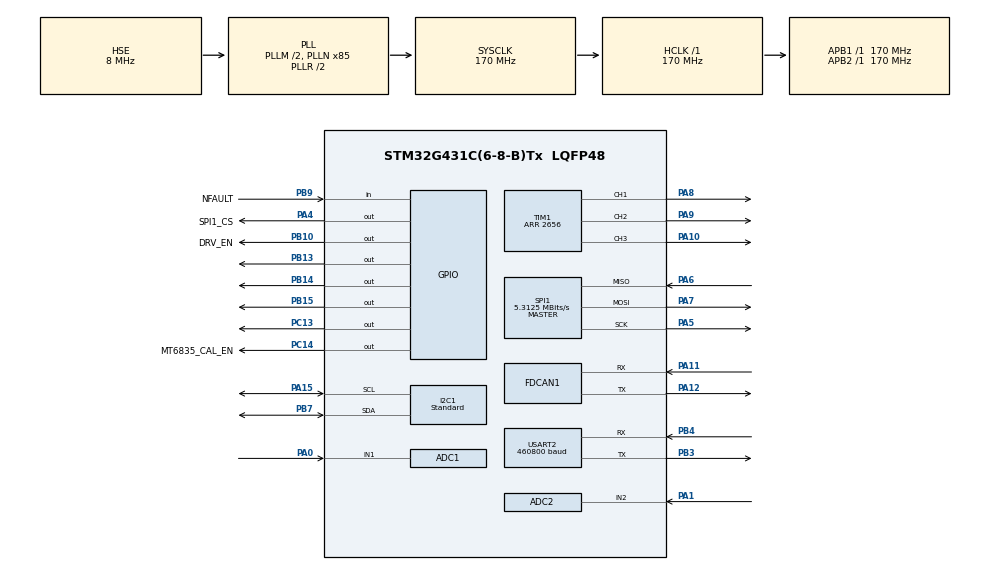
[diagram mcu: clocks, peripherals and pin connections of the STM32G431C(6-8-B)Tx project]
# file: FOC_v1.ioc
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ADC1.EnableInjectedConversion=ENABLE
ADC1.EnableInjectedOversampling=ENABLE
ADC1.EnableRegularConversion=DISABLE
ADC1.ExternalTrigInjecConv=ADC_EXTERNALTRIGINJEC_T1_TRGO
ADC1.InjNumberOfConversion=1
ADC1.InjOversamplingRatio=ADC_OVERSAMPLING_RATIO_16
ADC1.InjOversamplingRightShift=ADC_RIGHTBITSHIFT_4
ADC1.InjectedChannel-1\#ChannelInjectedConversion=ADC_CHANNEL_1
ADC1.InjectedOffsetNumber-1\#ChannelInjectedConversion=ADC_OFFSET_NONE
ADC1.InjectedRank-1\#ChannelInjectedConversion=1
ADC1.InjectedSamplingTime-1\#ChannelInjectedConversion=ADC_SAMPLETIME_12CYCLES_5
ADC1.Mode=ADC_DUALMODE_INJECSIMULT
ADC1.Rank1_Channel=ADC_CHANNEL_1
ADC1.Rank2_Channel=ADC_CHANNEL_1
ADC1.Rank3_Channel=ADC_CHANNEL_1
ADC1.Rank4_Channel=ADC_CHANNEL_1
ADC1.master=1
ADC2.EnableInjectedConversion=ENABLE
ADC2.EnableInjectedOversampling=ENABLE
ADC2.EnableRegularConversion=DISABLE
ADC2.InjNumberOfConversion=1
ADC2.InjOversamplingRatio=ADC_OVERSAMPLING_RATIO_16
ADC2.InjOversamplingRightShift=ADC_RIGHTBITSHIFT_4
ADC2.InjectedChannel-1\#ChannelInjectedConversion=ADC_CHANNEL_2
ADC2.InjectedOffsetNumber-1\#ChannelInjectedConversion=ADC_OFFSET_NONE
ADC2.InjectedRank-1\#ChannelInjectedConversion=1
ADC2.InjectedSamplingTime-1\#ChannelInjectedConversion=ADC_SAMPLETIME_12CYCLES_5
ADC2.Mode=ADC_DUALMODE_INJECSIMULT
ADC2.injectedQueueMode=DISABLE
Dma.Request0=SPI1_RX
Dma.Request1=SPI1_TX
Dma.Request2=USART2_TX
Dma.Request3=USART2_RX
Dma.SPI1_RX.0.Direction=DMA_PERIPH_TO_MEMORY
Dma.SPI1_RX.0.EventEnable=DISABLE
Dma.SPI1_RX.0.Instance=DMA1_Channel1
Dma.SPI1_RX.0.MemDataAlignment=DMA_MDATAALIGN_BYTE
Dma.SPI1_RX.0.MemInc=DMA_MINC_ENABLE
Dma.SPI1_RX.0.Mode=DMA_NORMAL
Dma.SPI1_RX.0.PeriphDataAlignment=DMA_PDATAALIGN_BYTE
Dma.SPI1_RX.0.PeriphInc=DMA_PINC_DISABLE
Dma.SPI1_RX.0.Polarity=HAL_DMAMUX_REQ_GEN_RISING
Dma.SPI1_RX.0.Priority=DMA_PRIORITY_VERY_HIGH
Dma.SPI1_RX.0.RequestNumber=1
Dma.SPI1_RX.0.SignalID=NONE
Dma.SPI1_RX.0.SyncEnable=DISABLE
Dma.SPI1_RX.0.SyncPolarity=HAL_DMAMUX_SYNC_NO_EVENT
Dma.SPI1_RX.0.SyncRequestNumber=1
Dma.SPI1_RX.0.SyncSignalID=NONE
Dma.SPI1_TX.1.Direction=DMA_MEMORY_TO_PERIPH
Dma.SPI1_TX.1.EventEnable=DISABLE
Dma.SPI1_TX.1.Instance=DMA1_Channel2
Dma.SPI1_TX.1.MemDataAlignment=DMA_MDATAALIGN_BYTE
Dma.SPI1_TX.1.MemInc=DMA_MINC_ENABLE
Dma.SPI1_TX.1.Mode=DMA_NORMAL
Dma.SPI1_TX.1.PeriphDataAlignment=DMA_PDATAALIGN_BYTE
Dma.SPI1_TX.1.PeriphInc=DMA_PINC_DISABLE
Dma.SPI1_TX.1.Polarity=HAL_DMAMUX_REQ_GEN_RISING
Dma.SPI1_TX.1.Priority=DMA_PRIORITY_HIGH
Dma.SPI1_TX.1.RequestNumber=1
Dma.SPI1_TX.1.SignalID=NONE
Dma.SPI1_TX.1.SyncEnable=DISABLE
Dma.SPI1_TX.1.SyncPolarity=HAL_DMAMUX_SYNC_NO_EVENT
Dma.SPI1_TX.1.SyncRequestNumber=1
Dma.SPI1_TX.1.SyncSignalID=NONE
Dma.USART2_RX.3.Direction=DMA_PERIPH_TO_MEMORY
Dma.USART2_RX.3.EventEnable=DISABLE
Dma.USART2_RX.3.Instance=DMA1_Channel3
Dma.USART2_RX.3.MemDataAlignment=DMA_MDATAALIGN_BYTE
Dma.USART2_RX.3.MemInc=DMA_MINC_ENABLE
Dma.USART2_RX.3.Mode=DMA_CIRCULAR
Dma.USART2_RX.3.PeriphDataAlignment=DMA_PDATAALIGN_BYTE
Dma.USART2_RX.3.PeriphInc=DMA_PINC_DISABLE
Dma.USART2_RX.3.Polarity=HAL_DMAMUX_REQ_GEN_RISING
Dma.USART2_RX.3.Priority=DMA_PRIORITY_HIGH
Dma.USART2_RX.3.RequestNumber=1
Dma.USART2_RX.3.SignalID=NONE
Dma.USART2_RX.3.SyncEnable=DISABLE
Dma.USART2_RX.3.SyncPolarity=HAL_DMAMUX_SYNC_NO_EVENT
Dma.USART2_RX.3.SyncRequestNumber=1
Dma.USART2_RX.3.SyncSignalID=NONE
Dma.USART2_TX.2.Direction=DMA_MEMORY_TO_PERIPH
Dma.USART2_TX.2.EventEnable=DISABLE
Dma.USART2_TX.2.Instance=DMA1_Channel4
Dma.USART2_TX.2.MemDataAlignment=DMA_MDATAALIGN_BYTE
Dma.USART2_TX.2.MemInc=DMA_MINC_ENABLE
Dma.USART2_TX.2.Mode=DMA_NORMAL
Dma.USART2_TX.2.PeriphDataAlignment=DMA_PDATAALIGN_BYTE
Dma.USART2_TX.2.PeriphInc=DMA_PINC_DISABLE
Dma.USART2_TX.2.Polarity=HAL_DMAMUX_REQ_GEN_RISING
Dma.USART2_TX.2.Priority=DMA_PRIORITY_HIGH
Dma.USART2_TX.2.RequestNumber=1
Dma.USART2_TX.2.SignalID=NONE
Dma.USART2_TX.2.SyncEnable=DISABLE
Dma.USART2_TX.2.SyncPolarity=HAL_DMAMUX_SYNC_NO_EVENT
Dma.USART2_TX.2.SyncRequestNumber=1
Dma.USART2_TX.2.SyncSignalID=NONE
FDCAN1.AutoRetransmission=ENABLE
FDCAN1.CalculateBaudRateNominal=999999
FDCAN1.CalculateTimeBitNominal=1000
FDCAN1.CalculateTimeQuantumNominal=58.82352941176471
FDCAN1.ClockDivider=FDCAN_CLOCK_DIV2
FDCAN1.NominalPrescaler=5
FDCAN1.NominalTimeSeg1=13
FDCAN1.NominalTimeSeg2=3
FDCAN1.StdFiltersNbr=3
I2C1.CustomTiming=Disabled
I2C1.DualAddressMode=I2C_DUALADDRESS_DISABLE
I2C1.I2C_Coeff_DF=15
I2C1.I2C_Speed_Mode=I2C_Standard
I2C1.Speed=100
I2C1.Timing=0x40B085BC
Mcu.Family=STM32G4
Mcu.Name=STM32G431C(6-8-B)Tx
Mcu.Package=LQFP48
NVIC.ADC1_2_IRQn=true\:0\:0\:false\:false\:true\:true\:true\:true
NVIC.CORDIC_IRQn=true\:0\:0\:false\:false\:true\:true\:true\:true
NVIC.DMA1_Channel1_IRQn=true\:1\:0\:true\:false\:true\:false\:true\:true
NVIC.DMA1_Channel2_IRQn=true\:1\:0\:true\:false\:true\:false\:true\:true
NVIC.DMA1_Channel3_IRQn=true\:4\:0\:true\:false\:true\:false\:true\:true
NVIC.DMA1_Channel4_IRQn=true\:4\:0\:true\:false\:true\:false\:true\:true
NVIC.FDCAN1_IT0_IRQn=true\:3\:0\:true\:false\:true\:true\:true\:true
NVIC.FDCAN1_IT1_IRQn=true\:3\:0\:true\:false\:true\:true\:true\:true
NVIC.I2C1_ER_IRQn=true\:4\:0\:true\:false\:true\:true\:true\:true
NVIC.I2C1_EV_IRQn=true\:4\:0\:true\:false\:true\:true\:true\:true
NVIC.PriorityGroup=NVIC_PRIORITYGROUP_4
NVIC.SPI1_IRQn=true\:1\:0\:true\:false\:true\:true\:true\:true
NVIC.TIM1_UP_TIM16_IRQn=true\:0\:0\:false\:false\:true\:true\:true\:true
NVIC.TIM2_IRQn=true\:1\:0\:true\:false\:true\:true\:true\:true
NVIC.TIM3_IRQn=true\:2\:0\:true\:false\:true\:true\:true\:true
NVIC.USART2_IRQn=true\:4\:0\:true\:false\:true\:true\:true\:true
PA0.Mode=IN1-Single-Ended
PA0.Signal=ADC1_IN1
PA1.Mode=IN2-Single-Ended
PA1.Signal=ADC2_IN2
PA10.Signal=S_TIM1_CH3
PA11.Mode=FDCAN_Activate
PA11.Signal=FDCAN1_RX
PA12.Mode=FDCAN_Activate
PA12.Signal=FDCAN1_TX
PA13.Mode=Serial_Wire
PA13.Signal=SYS_JTMS-SWDIO
PA14.Mode=Serial_Wire
PA14.Signal=SYS_JTCK-SWCLK
PA15.Mode=I2C
PA15.Signal=I2C1_SCL
PA4.GPIO_Label=SPI1_CS
PA4.PinState=GPIO_PIN_SET
PA4.Signal=GPIO_Output
PA5.Mode=Full_Duplex_Master
PA5.Signal=SPI1_SCK
PA6.Mode=Full_Duplex_Master
PA6.Signal=SPI1_MISO
PA7.Mode=Full_Duplex_Master
PA7.Signal=SPI1_MOSI
PA8.Signal=S_TIM1_CH1
PA9.Signal=S_TIM1_CH2
PB10.GPIO_Label=DRV_EN
PB10.PinState=GPIO_PIN_RESET
PB10.Signal=GPIO_Output
PB13.PinState=GPIO_PIN_SET
PB13.Signal=GPIO_Output
PB14.PinState=GPIO_PIN_SET
PB14.Signal=GPIO_Output
PB15.PinState=GPIO_PIN_SET
PB15.Signal=GPIO_Output
PB3.Mode=Asynchronous
PB3.Signal=USART2_TX
PB4.Mode=Asynchronous
PB4.Signal=USART2_RX
PB7.Mode=I2C
PB7.Signal=I2C1_SDA
PB9.GPIO_Label=NFAULT
PB9.Signal=GPIO_Input
PC13.Signal=GPIO_Output
PC14-OSC32_IN.GPIO_Label=MT6835_CAL_EN
PC14-OSC32_IN.Signal=GPIO_Output
PF0-OSC_IN.Mode=HSE-External-Clock-Source
PF0-OSC_IN.Signal=RCC_OSC_IN
ProjectManager.HeapSize=0x200
ProjectManager.StackSize=0x800
ProjectManager.TargetToolchain=MDK-ARM V5.32
RCC.ADC12Freq_Value=170000000
RCC.AHBFreq_Value=170000000
RCC.APB1Freq_Value=170000000
RCC.APB1TimFreq_Value=170000000
RCC.APB2Freq_Value=170000000
RCC.APB2TimFreq_Value=170000000
RCC.CortexFreq_Value=170000000
RCC.EXTERNAL_CLOCK_VALUE=12288000
RCC.HCLKFreq_Value=170000000
RCC.HSE_VALUE=8000000
RCC.HSI48_VALUE=48000000
RCC.HSI_VALUE=16000000
RCC.LSE_VALUE=32768
RCC.PLLM=RCC_PLLM_DIV2
RCC.PLLN=85
RCC.PLLSourceVirtual=RCC_PLLSOURCE_HSE
RCC.SYSCLKFreq_VALUE=170000000
RCC.SYSCLKSource=RCC_SYSCLKSOURCE_PLLCLK
RCC.USBFreq_Value=170000000
RCC.VCOOutputFreq_Value=340000000
SH.S_TIM1_CH1.0=TIM1_CH1,PWM Generation1 CH1
SH.S_TIM1_CH2.0=TIM1_CH2,PWM Generation2 CH2
SH.S_TIM1_CH3.0=TIM1_CH3,PWM Generation3 CH3
SPI1.BaudRatePrescaler=SPI_BAUDRATEPRESCALER_32
SPI1.CLKPhase=SPI_PHASE_2EDGE
SPI1.CLKPolarity=SPI_POLARITY_HIGH
SPI1.CalculateBaudRate=5.3125 MBits/s
SPI1.DataSize=SPI_DATASIZE_8BIT
SPI1.Direction=SPI_DIRECTION_2LINES
SPI1.Mode=SPI_MODE_MASTER
SPI1.VirtualType=VM_MASTER
STMicroelectronics.X-CUBE-ALGOBUILD.1.5.0.LibraryCcDSPOoLibraryJjDSPOoLibrary=true
TIM1.Channel-PWM\ Generation1\ CH1=TIM_CHANNEL_1
TIM1.Channel-PWM\ Generation2\ CH2=TIM_CHANNEL_2
TIM1.Channel-PWM\ Generation3\ CH3=TIM_CHANNEL_3
TIM1.CounterMode=TIM_COUNTERMODE_CENTERALIGNED1
TIM1.PeriodNoDither=2656
TIM1.RepetitionCounter=3
TIM1.TIM_MasterOutputTrigger=TIM_TRGO_UPDATE
TIM1.TIM_MasterSlaveMode=TIM_MASTERSLAVEMODE_ENABLE
TIM2.AutoReloadPreload=TIM_AUTORELOAD_PRELOAD_ENABLE
TIM2.PeriodNoDither=8499
TIM3.AutoReloadPreload=TIM_AUTORELOAD_PRELOAD_ENABLE
TIM3.PeriodNoDither=999
TIM3.Prescaler=169
USART2.BaudRate=460800
USART2.VirtualMode-Asynchronous=VM_ASYNC
VP_CORDIC_VS_CORDIC.Mode=CORDIC_Activate
VP_STMicroelectronics.X-CUBE-ALGOBUILD_VS_DSPOoLibraryJjLibrary_1.5.0_1.5.0.Mode=DSPOoLibraryJjLibrary
VP_SYS_VS_DBSignals.Mode=DisableDeadBatterySignals
VP_TIM1_VS_ClockSourceINT.Mode=Internal
VP_TIM2_VS_ClockSourceINT.Mode=Internal
VP_TIM3_VS_ClockSourceINT.Mode=Internal
board=custom

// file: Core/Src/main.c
/* USER CODE BEGIN Header */
/**
  ******************************************************************************
  * @file           : main.c
  * @brief          : CAN motor service with interrupt-driven dual-ADC FOC
  ******************************************************************************
  */
/* USER CODE END Header */
#include "main.h"
#include "adc.h"
#include "cordic.h"
#include "dma.h"
#include "fdcan.h"
#include "i2c.h"
#include "spi.h"
#include "tim.h"
#include "usart.h"
#include "gpio.h"

/* USER CODE BEGIN Includes */
#if APP_UART_ENABLE
#include <stdio.h>
#endif
#include "encoder.h"
#include "encoder_autocal.h"
#include "encoder_bench.h"
#include "foc.h"
#include "pid.h"
#include "uart_tx.h"
#include "utils.h"
#include "vofa.h"
#include "ina219.h"
#include "can.h"
#include "motor_supervisor.h"
#include "motor_calibration.h"
/* USER CODE END Includes */

/* USER CODE BEGIN PV */

#if APP_UART_ENABLE
/* UART telemetry gate; motor state is owned by MotorSupervisor. */
static uint8_t test_phase;
#endif

/* 外设就绪标志 — Error_Handler() 据此判断哪些寄存器可以安全操作。
 * 必须在 MX_TIM1_Init() / MX_USART2_UART_Init() 的 USER CODE 区置位，
 * 否则 CubeMX 重新生成后本文件的关断逻辑会误判外设状态。 */
volatile uint8_t htim1_ready  = 0U;
volatile uint8_t huart2_ready = 0U;

/* USER CODE END PV */

void SystemClock_Config(void);

/* USER CODE BEGIN 0 */

#if APP_UART_ENABLE
void App_CalibrationPoll(void)
{
  CAN_Poll();
  UART_TX_Pump();
}

static void App_ReportEncoderDiagnostics(void)
{
  char log[128];
#if APP_ENCODER_TYPE == APP_ENCODER_MT6835
  mt6835_diagnostics_t snapshot;
  MT6835_GetDiagnostics(&snapshot);
  (void)snprintf(log, sizeof(log),
                 "[ENC] MT6835 cause=%s raw=%lu status=%u crc=%02X/%02X spi=%u tries=%u\r\n",
                 MT6835_DiagnosticStatusName(snapshot.cause), (unsigned long)snapshot.angle,
                 (unsigned)snapshot.status, (unsigned)snapshot.crc_received,
                 (unsigned)snapshot.crc_expected, (unsigned)snapshot.spi_status,
                 (unsigned)snapshot.attempts);
#else
  as5047p_diagnostics_t snapshot;
  AS5047P_GetDiagnostics(&snapshot);
  (void)snprintf(log, sizeof(log),
                 "[ENC] cause=%s dia=%04X mag=%04X spi=%u/%u err=%04X/%u tries=%u\r\n",
                 AS5047P_DiagnosticStatusName(snapshot.status),
                 (unsigned)snapshot.diaagc_raw, (unsigned)snapshot.magnitude_raw,
                 (unsigned)snapshot.diagnostic_spi_status, (unsigned)snapshot.magnitude_spi_status,
                 (unsigned)snapshot.error_raw, (unsigned)snapshot.error_valid, (unsigned)snapshot.attempts);
#endif
  UART2_SendString(log);
}
#endif

/* USER CODE END 0 */

int main(void)
{

  /* USER CODE BEGIN 1 */
  const uint8_t coldPowerBoot = __HAL_RCC_GET_FLAG(RCC_FLAG_BORRST) != RESET;
  const uint8_t softwareResetBoot = __HAL_RCC_GET_FLAG(RCC_FLAG_SFTRST) != RESET;
  __HAL_RCC_CLEAR_RESET_FLAGS();
  /* USER CODE END 1 */

  /* MCU Configuration--------------------------------------------------------*/

  /* Reset of all peripherals, Initializes the Flash interface and the Systick. */
  HAL_Init();

  /* Configure the system clock */
  SystemClock_Config();

  /* Initialize all configured peripherals */
  MX_GPIO_Init();
  MX_DMA_Init();
  MX_USART2_UART_Init();
  MX_ADC1_Init();
  MX_ADC2_Init();
  MX_SPI1_Init();
  MX_TIM1_Init();
  MX_TIM2_Init();
  MX_CORDIC_Init();
  MX_TIM3_Init();
  MX_I2C1_Init();
  MX_FDCAN1_Init();
  /* USER CODE BEGIN 2 */
  App_DMA_DisableUnusedUART();
#if APP_UART_ENABLE
  uint32_t last_print_time = 0;
  /* Initialize before the first startup log is queued. */
  UART_TX_Init();
#endif

  UART2_SendString("========================================\r\n");
  UART2_SendString("  STM32G431 FOC v1\r\n");
  UART2_SendString("========================================\r\n");

  DWT_Init();
  EncoderAutoCal_Init(coldPowerBoot != 0U);
  control_pid_init();
  motor_control_parm_init();
  MotorCalibration_Init();
  MotorSupervisor_Init(HAL_GetUIDw0() ^ HAL_GetUIDw1() ^ HAL_GetUIDw2() ^ dwt_get_cycles(),
                       HAL_GetTick(), APP_AUTO_CALIBRATE != 0U && !softwareResetBoot && !MotorCalibration_HasRestore());
  if (CAN_Init() != HAL_OK) {
    UART2_SendString("[CAN] ERROR: service not started\r\n");
    MotorSupervisor_StopISR();
  }
  INA219_ServiceInit();

  /* 2. Init encoder sensor state */
  Encoder_Sensor_Init(&AngleSensor);
  Encoder_Init();
  if (!Encoder_CheckDiagnostics()) {
    motor_fault_trip(MOTOR_FAULT_ENCODER);
  } else {
#if APP_UART_ENABLE
    App_ReportEncoderDiagnostics();
#endif
  }

  if (motor_fault_reason == MOTOR_FAULT_NONE) {
    /* 4. Kick off first DMA encoder read (pipelined: each Update reads previous result).
     *    TIM2 encoder ISR sampling frequency is configured independently of TIM1. */
    (void)Encoder_DMA_StartRequest();

    /* 4. Keep the gate driver disabled while calibrating current offsets. */
    HAL_GPIO_WritePin(DRV_EN_GPIO_Port, DRV_EN_Pin, GPIO_PIN_RESET);
    Motor_Current_Calibration();

    /* 5. Start TIM1 ~32 kHz 3-phase PWM */
    HAL_TIM_PWM_Start(&htim1, TIM_CHANNEL_1);
    HAL_TIM_PWM_Start(&htim1, TIM_CHANNEL_2);
    HAL_TIM_PWM_Start(&htim1, TIM_CHANNEL_3);
    /* PWM starts the ADC trigger timer; offsets are sampled with outputs off. */
    Motor_HardwareDisable();

    /* 6. Start dual-ADC injected conversion (slave first, then master) */
    if (HAL_ADCEx_InjectedStart(&hadc2) != HAL_OK)
    {
      Error_Handler();
    }
    if (HAL_ADCEx_InjectedStart_IT(&hadc1) != HAL_OK)
    {
      Error_Handler();
    }

    /* 7. Start TIM1 update interrupt @ ~16 kHz → TRGO triggers ADC chain */
    __HAL_TIM_CLEAR_IT(&htim1, TIM_IT_UPDATE);
    if (HAL_TIM_Base_Start_IT(&htim1) != HAL_OK ||
        HAL_TIM_Base_Start_IT(&htim2) != HAL_OK) Error_Handler();

    UART2_SendString("[FOC] Waiting for current calibration...\r\n");
  }

  if (HAL_TIM_Base_Start_IT(&htim3) != HAL_OK) Error_Handler();

  /* 8. Start UART2 DMA RX for VOFA+ command reception */
#if APP_UART_ENABLE
  VOFA_InitRx();
#endif

  /* USER CODE END 2 */

  /* Infinite loop */
  /* USER CODE BEGIN WHILE */
  while (1)
  {
    MotorSupervisor_MainProgress(HAL_GetTick());
    INA219_ServicePoll(HAL_GetTick());
    foc_check_calibration_timeout();
#if APP_UART_ENABLE
    {
      static uint8_t fault_reported = 0U;
      if (motor_fault_reason != MOTOR_FAULT_NONE && !fault_reported) {
        char fault_log[128];
        if (motor_fault_reason == MOTOR_FAULT_ENCODER) App_ReportEncoderDiagnostics();
        (void)snprintf(fault_log, sizeof(fault_log),
                       "[FAULT] reason=%u tick=%lu raw=%u/%u stage=%u/%u; reset required\r\n",
                       (unsigned)motor_fault_reason, (unsigned long)motor_fault_snapshot.tick_ms,
                       (unsigned)motor_fault_snapshot.raw_a, (unsigned)motor_fault_snapshot.raw_c,
                       (unsigned)motor_fault_snapshot.was_aligning,
                       (unsigned)motor_fault_snapshot.was_running);
        UART2_SendString(fault_log);
        fault_reported = 1U;
        test_phase = 1U;
      }
    }
    /* UART2 发送泵 — 必须放在循环最前面且不做节流。
     * 它自身只在 DMA 空闲时工作，开销仅一次状态判断；若放在遥测节流之后，
     * 队列排空速率会被遥测周期限制。 */
    UART_TX_Pump();
#endif

    CAN_Poll();

    MotorCalibration_Poll();
    EncoderAutoCal_Poll(HAL_GetTick());

    /* Process incoming VOFA+ commands (PC → MCU) */
#if APP_UART_ENABLE
    VOFA_ProcessCmd();
    EncoderBench_Poll();
    VOFA_CheckCommandTimeout();

    /* Calibration progresses in TIM3 without blocking the main loop. */
    {
      static uint8_t offsetsReported, readyReported;
      CAN_NodeStatus status = {0};
      MotorSupervisor_ReadStatus(&status, HAL_GetTick());
      if (motor_current.Calibrated && !offsetsReported) {
        char log[100];
        (void)snprintf(log, sizeof(log), "[FOC] Calibration Done! OffsetA: %.2f, OffsetC: %.2f\r\n",
                       motor_current.Offset_A, motor_current.Offset_C);
        UART2_SendString(log); offsetsReported = 1U;
      }
      test_phase = status.state == CAN_STATE_READY || status.state == CAN_STATE_ENABLED ? 2U : 0U;
      if (motor_electrical_calibrated && !readyReported) {
        char log[100];
        (void)snprintf(log, sizeof(log), "[FOC] Zero elec angle = %.3f rad\r\n[FOC] Ready: output disabled; CAN Iq stage 2\r\n",
                       motor_control.zero_elec_angle);
        UART2_SendString(log); readyReported = 1U;
      }
    }

    /* Optional UART telemetry; control authority stays with MotorSupervisor. */
    if (test_phase == 2 && !EncoderBench_IsActive())
    {
      if (HAL_GetTick() - last_print_time >= 10)
      {
        last_print_time = HAL_GetTick();

        /* Channel layout for VOFA+:
         *   [0] id_target       - D-axis target current (A)
         *   [1] id_meas         - D-axis actual current (A)
         *   [2] iq_target       - Q-axis target current (A) = set_torque
         *   [3] iq_meas         - Q-axis actual current (A)
         *   [4] velocity_raw    - Sliding-window velocity (rad/s)
         *   [5] velocity_filt   - Filtered velocity used by speed PI (rad/s)
         *   [6] speed_setpoint  - Speed setpoint (rad/s)
         *   [7] speed_kp_active - Active scheduled speed P gain
         *   [8] status_flag     - Command synchronization flag
         *   [9] mode            - Control mode (0=torque, 1=speed, 2=pos)
         *   [10] position_target - Absolute multi-turn position target (rad)
         *   [11] position_meas   - Measured multi-turn position (rad)
         *   [12] bus_voltage    - Bus voltage from INA219 (V)
         *   [13] bus_current    - Bus current from INA219 (A)
           *   [14] speed_integral - Inner speed PI integral output (A)
           *   [15] speed_ki_active - Active inner speed I gain
           *   [16] position_error - Position-loop count-difference error (rad)
         */
          uint32_t telemetry_primask = __get_PRIMASK();
          __disable_irq();
          float vofa_data[17] = {
            motor_control.id_target,
            motor_control.id_meas,
            motor_control.set_torque,
            motor_control.iq_meas,
            motor_control.vel_raw,
            motor_control.vel_meas,
            motor_control.set_speed,
            motor_control.spd_kp_active,
            (float)motor_control.status_flag,
            (float)motor_control.mode,
            motor_control.set_position,
            motor_control.pos_meas,
            ina219_vbus,      /* [12] 母线电压 (V) */
              ina219_ibus,      /* [13] 母线电流 (A) */
              speed_loop.integral_prev,
              speed_loop.I,
              motor_control.pos_error
        };
          __set_PRIMASK(telemetry_primask);
          VOFA_SendData(vofa_data, 17);
        motor_control.status_flag = 0;  /* clear after TX */
      }
    }

#endif
    /* USER CODE END WHILE */

  }
}

void SystemClock_Config(void)
{
  RCC_OscInitTypeDef RCC_OscInitStruct = {0};
  RCC_ClkInitTypeDef RCC_ClkInitStruct = {0};

  /** Configure the main internal regulator output voltage
  */
  HAL_PWREx_ControlVoltageScaling(PWR_REGULATOR_VOLTAGE_SCALE1_BOOST);

  /** Initializes the RCC Oscillators according to the specified parameters
  * in the RCC_OscInitTypeDef structure.
  */
  RCC_OscInitStruct.OscillatorType = RCC_OSCILLATORTYPE_HSE;
  RCC_OscInitStruct.HSEState = RCC_HSE_BYPASS;
  RCC_OscInitStruct.PLL.PLLState = RCC_PLL_ON;
  RCC_OscInitStruct.PLL.PLLSource = RCC_PLLSOURCE_HSE;
  RCC_OscInitStruct.PLL.PLLM = RCC_PLLM_DIV2;
  RCC_OscInitStruct.PLL.PLLN = 85;
  RCC_OscInitStruct.PLL.PLLP = RCC_PLLP_DIV2;
  RCC_OscInitStruct.PLL.PLLQ = RCC_PLLQ_DIV2;
  RCC_OscInitStruct.PLL.PLLR = RCC_PLLR_DIV2;
  if (HAL_RCC_OscConfig(&RCC_OscInitStruct) != HAL_OK)
  {
    Error_Handler();
  }

  /** Initializes the CPU, AHB and APB buses clocks
  */
  RCC_ClkInitStruct.ClockType = RCC_CLOCKTYPE_HCLK|RCC_CLOCKTYPE_SYSCLK
                              |RCC_CLOCKTYPE_PCLK1|RCC_CLOCKTYPE_PCLK2;
  RCC_ClkInitStruct.SYSCLKSource = RCC_SYSCLKSOURCE_PLLCLK;
  RCC_ClkInitStruct.AHBCLKDivider = RCC_SYSCLK_DIV1;
  RCC_ClkInitStruct.APB1CLKDivider = RCC_HCLK_DIV1;
  RCC_ClkInitStruct.APB2CLKDivider = RCC_HCLK_DIV1;

  if (HAL_RCC_ClockConfig(&RCC_ClkInitStruct, FLASH_LATENCY_4) != HAL_OK)
  {
    Error_Handler();
  }
}

/* USER CODE BEGIN 4 */

/**
  * @brief  Dual-ADC injected conversion complete callback (triggered by TIM1_TRGO @ ~16kHz).
  *         Handles current offset calibration, phase current computation, encoder update,
  *         and closed-loop FOC current control.
  */
void HAL_ADCEx_InjectedConvCpltCallback(ADC_HandleTypeDef *hadc)
{
    if (hadc->Instance == ADC1)
    {
        /* 1. Read dual-ADC synchronized raw values */
        uint16_t raw_a = HAL_ADCEx_InjectedGetValue(&hadc1, ADC_INJECTED_RANK_1);
        uint16_t raw_c = HAL_ADCEx_InjectedGetValue(&hadc2, ADC_INJECTED_RANK_1);

        foc_process_current_sample(raw_a, raw_c);
        CAN_OnCurrentSample();
    }
}

/**
  * @brief  TIM period elapsed callback
  *         - TIM1 update/TRGO (~16 kHz, PWM carrier ~32 kHz): sampling watchdog
  *           (FOC runs in ADC ISR)
  *         - TIM2: AS5047P encoder SPI read + angle/velocity → cache
  */
void HAL_TIM_PeriodElapsedCallback(TIM_HandleTypeDef *htim)
{
  if (htim->Instance == TIM1)
  {
    foc_check_sampling_progress();
  }
  else if (htim->Instance == TIM2)
  {
    /* ── Encoder TIM2 update ── */
    /* ① SPI read raw angle → parity check → angle unwrap → velocity */
    if (Encoder_Sensor_Update(&AngleSensor))
    {
      Encoder_Cache_Publish(&AngleSensor);
    }
  }
  else if (htim->Instance == TIM3)
  {
    foc_check_sampling_progress();
    MotorSupervisor_Tick(HAL_GetTick());
    CAN_Tick1kHz();
  }
}
/* USER CODE END 4 */

void Error_Handler(void)
{
  /* USER CODE BEGIN Error_Handler_Debug */
  __disable_irq();

  /* 1. 关断功率级 — 无条件执行，不依赖任何外设初始化状态。
   *    BSRR 高 16 位写 1 表示对应引脚复位(输出低)，直接写寄存器以覆盖
   *    "HAL_GPIO 尚未初始化" 的早期失败场景。
   *    PB13/PB14/PB15 是 DRV8323H 3x PWM 模式的 INLx 绑定脚，不得触碰。 */
  Motor_HardwareDisable();

  /* Stop the trigger timer after the shared immediate hardware shutdown. */
  if (htim1_ready != 0U)
  {
    TIM1->CR1  &= ~TIM_CR1_CEN;
  }

#if APP_UART_ENABLE
  /* 3. 尽力上报一次 (环形缓冲非阻塞，满则丢弃) */
  if (huart2_ready != 0U)
  {
    (void)UART_TX_PutString("[FATAL] Error_Handler: power stage disabled\r\n");
    UART_TX_Pump();
  }
#endif

  /* IWDG is not configured; remain disabled until an external reset. */
  for (;;)
  {
    __NOP();
  }
  /* USER CODE END Error_Handler_Debug */
}
